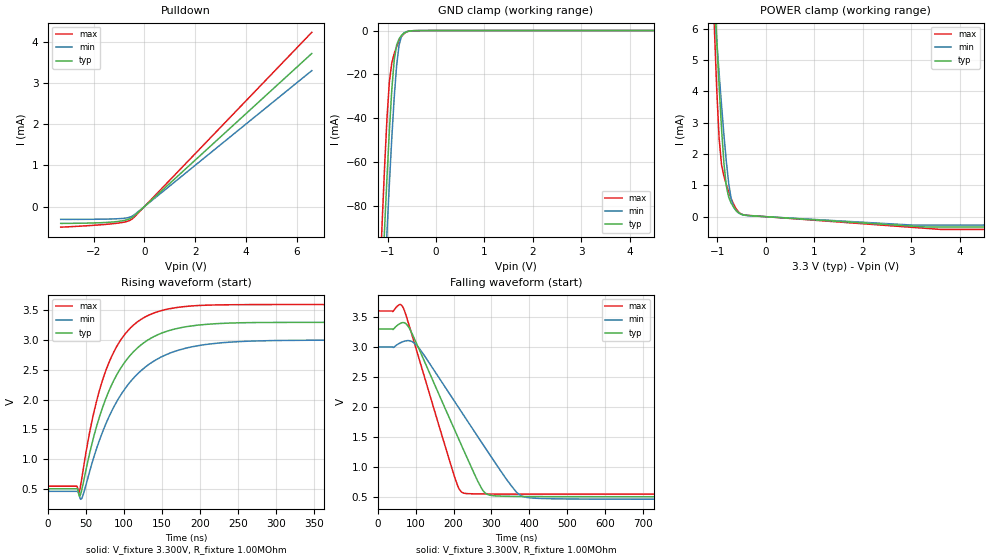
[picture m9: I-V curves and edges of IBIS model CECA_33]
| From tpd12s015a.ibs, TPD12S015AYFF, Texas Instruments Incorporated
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[Model]   CECA_33
Model_type   I/O_open_sink
Vinl = 0.2706V
Vinh = 2.31V
Vmeas = 1.6025V
Cref = 15pF
Vref = 0V
Rref = 1000000
|   typ   min   max
|3-state
C_comp   1.1344pF   1.1015pF   1.2192pF
|pulldown
|C_comp   1.1344pF   1.1015pF   1.2166pF
[Voltage Range]   3.300V   3.00V   3.6V
|Junction temperature
[Temperature Range]   40.0   100.0   -40.0
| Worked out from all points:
|   slope of the pulldown table from 0 to 0.495 V, typ, clamps not added: 1.78 kohm
|   GND clamp passes 1 mA (typ) near -0.64 V on its own axis
|   POWER clamp passes 1 mA (typ) near -0.81 V on its own axis
|   falling waveform, V_fixture 3.300V, R_fixture 1.00MOhm: 20-80 % time 118ns typ, 160ns min, 86.9ns max; typ from 3.3 V to 0.5 V
|   rising waveform, V_fixture 3.300V, R_fixture 1.00MOhm: 20-80 % time 53.8ns typ, 64.2ns min, 44.5ns max; typ from 0.5 V to 3.3 V
|ambient temperature   25   85   -40|
[Pulldown]
|   Voltage   I(typ)   I(min)   I(max)
-3.3V     -408uA     -310uA     -499uA
-1.26V    -374.2uA   -299.8uA   -416.6uA
-713.1mV  -323.4uA   -276.2uA   -364.4uA
-464.3mV  -254.2uA   -225.1uA   -290.7uA
6.6V      3.714mA    3.298mA    4.228mA
[GND Clamp]
|   Voltage   I(typ)   I(min)   I(max)
-3.3V     -2.285A    -2.051A    -2.629A
-1.161V   -140.4mA   -164mA     -114.1mA
-1.111V   -115.1mA   -139.3mA   -87.51mA
-1.061V   -90.52mA   -115.3mA   -62.41mA
-1.012V   -67.11mA   -91.95mA   -40mA
-961.8mV  -45.48mA   -69.67mA   -23.17mA
-912.1mV  -26.88mA   -48.92mA   -14.71mA
-862.3mV  -13.5mA    -30.52mA   -10.56mA
-812.6mV  -6.659mA   -15.92mA   -7.423mA
-713.1mV  -2.253mA   -2.629mA   -2.864mA
-613.6mV  -659.8uA   -538.9uA   -689.6uA
6.6V      0A         0A         0A
[POWER Clamp]
|   Voltage   I(typ)   I(min)   I(max)
-3.3V     65.62mA    7.928mA    101.1mA
-1.061V   7.235mA    6.729mA    6.104mA
-1.012V   5.665mA    5.643mA    4.086mA
-961.8mV  4.175mA    4.586mA    2.508mA
-912.1mV  2.82mA     3.569mA    1.665mA
-862.3mV  1.704mA    2.613mA    1.292mA
-812.6mV  972uA      1.753mA    1.026mA
-713.1mV  434.4uA    569.2uA    581.2uA
-613.6mV  207.3uA    190uA      257uA
-514.1mV  85.98uA    78.49uA    91.47uA
3.615V    -330uA     -268uA     -407.5uA
6.6V      -330uA     -268uA     -407.5uA
[Ramp]
R_load = 1.00MOhm
|   typ   min   max
dV/dt_r   1.680V/53.788ns   1.526V/64.202ns   1.834V/44.485ns
dV/dt_f   1.680V/117.748ns   1.526V/159.862ns   1.834V/86.888ns
[Falling Waveform]
V_fixture = 3.300V
V_fixture_min = 3.000V
V_fixture_max = 3.600V
R_fixture = 1.00MOhm
|   Time   V(typ)   V(min)   V(max)
0s        3.3V       3V         3.6V
40ns      3.29V      2.993V     3.591V
67ns      3.406V     3.089V     3.653V
106ns     3.005V     3.001V     2.862V
203ns     1.614V     2.088V     823.9mV
228ns     1.259V     1.848V     558.7mV
286ns     551.9mV    1.294V     545.7mV
366ns     504.9mV    578.6mV    543.7mV
397ns     503.3mV    485.2mV    543.4mV
1.9us     499.8mV    456.7mV    542.7mV
[Rising Waveform]
V_fixture = 3.300V
V_fixture_min = 3.000V
V_fixture_max = 3.600V
R_fixture = 1.00MOhm
|   Time   V(typ)   V(min)   V(max)
0s        499.8mV    456.7mV    542.7mV
38ns      499.8mV    456.7mV    542.7mV
41ns      378.6mV    396mV      445.2mV
45ns      519mV      357.8mV    728.2mV
64ns      1.557V     1.183V     1.984V
89ns      2.384V     1.935V     2.862V
122ns     2.917V     2.482V     3.346V
173ns     3.205V     2.836V     3.556V
323ns     3.299V     2.998V     3.6V
1.9us     3.3V       3V         3.6V
